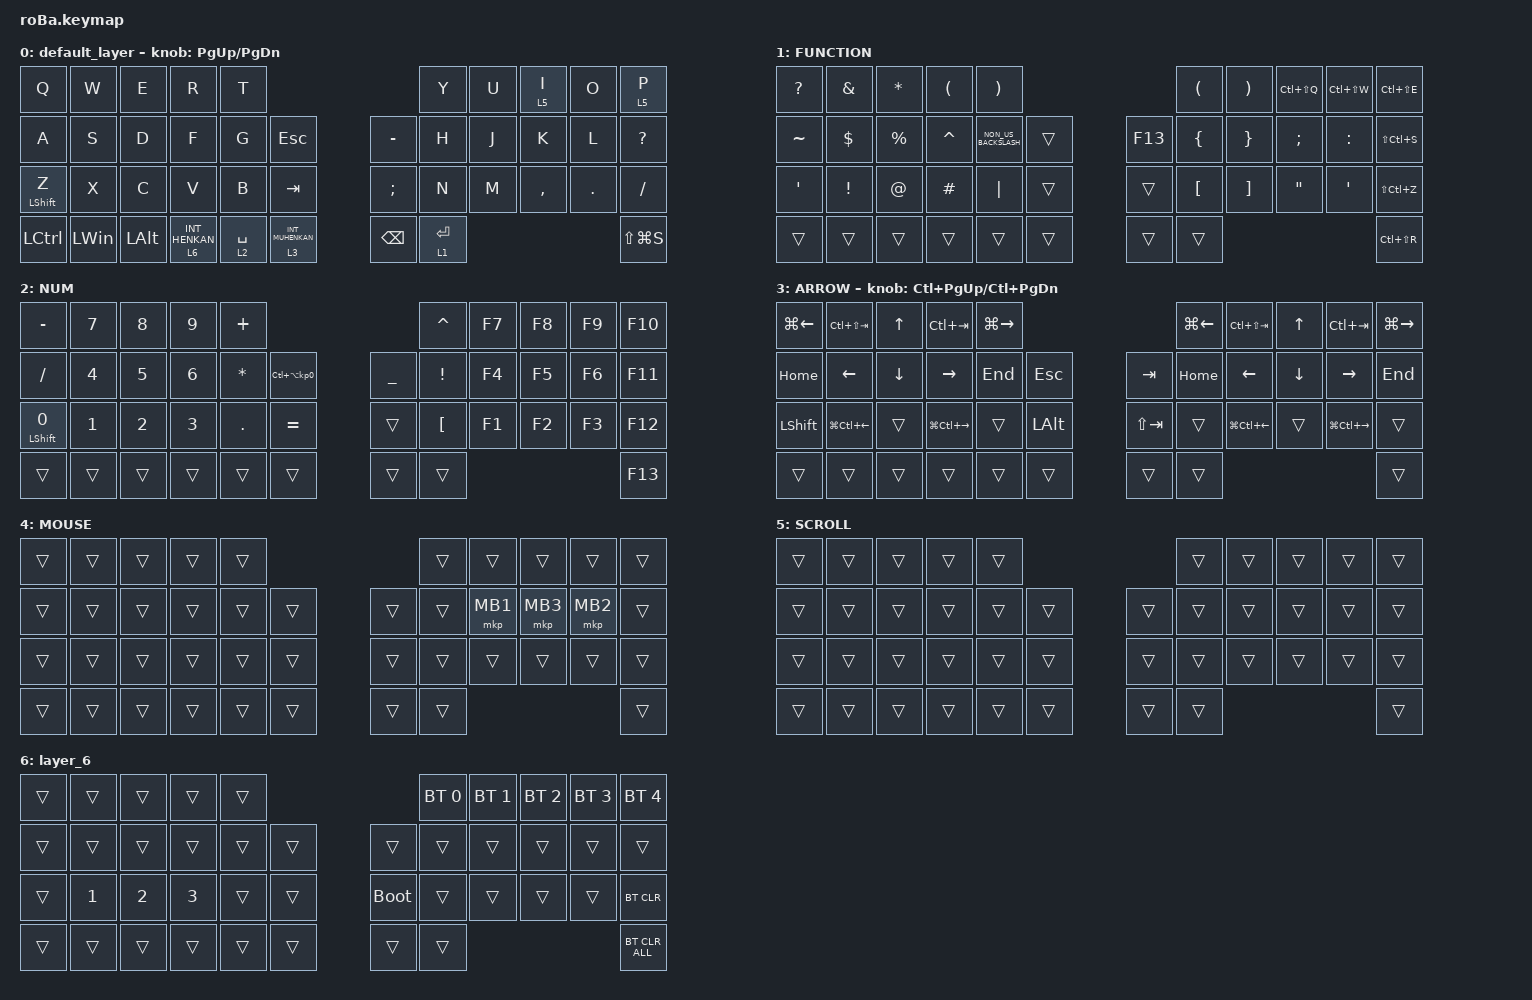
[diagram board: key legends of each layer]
#include <behaviors.dtsi>
#include <dt-bindings/zmk/bt.h>
#include <dt-bindings/zmk/keys.h>
#include <dt-bindings/zmk/pointing.h>

&mt {
    flavor = "balanced";
    quick-tap-ms = <0>;
};

&trackball {
    automouse-layer = <4>;
    scroll-layers = <5>;

    // arrows {
    //     layers = <3>;
    //     bindings =
    //         <&kp RIGHT_ARROW>,
    //         <&kp LEFT_ARROW>,
    //         <&kp UP_ARROW>,
    //         <&kp DOWN_ARROW>;
    //     tick = <10>;
    //     wait-ms = <5>;
    //     tap-ms = <5>;
    // };
};

/ {
    combos {
        compatible = "zmk,combos";

        tab {
            bindings = <&kp TAB>;
            key-positions = <11 12>;
        };

        shift_tab {
            bindings = <&kp LS(TAB)>;
            key-positions = <12 13>;
        };

        muhennkann {
            bindings = <&to_layer_0 INT_MUHENKAN>;
            key-positions = <11 10>;
        };

        double_quotation {
            bindings = <&kp DOUBLE_QUOTES>;
            key-positions = <20 21>;
        };

        eq {
            bindings = <&kp EQUAL>;
            key-positions = <24 25>;
        };
    };

    macros {
        to_layer_0: to_layer_0 {
            compatible = "zmk,behavior-macro-one-param";
            #binding-cells = <1>;
            bindings = <&to 0 &macro_param_1to1 &kp MACRO_PLACEHOLDER>;
            label = "TO_LAYER_0";
        };
    };

    behaviors {
        lt_to_layer_0: lt_to_layer_0 {
            compatible = "zmk,behavior-hold-tap";
            label = "LAYER_TAP_TO_0";
            bindings = <&mo>, <&to_layer_0>;

            #binding-cells = <2>;
            tapping-term-ms = <200>;
        };
    };

    keymap {
        compatible = "zmk,keymap";

        default_layer {
            bindings = <
&kp Q             &kp W         &kp E         &kp R                        &kp T                                                          &kp Y        &kp U  &lt 5 I    &kp O    &lt 5 P
&kp A             &kp S         &kp D         &kp F                        &kp G        &kp ESC                            &kp MINUS      &kp H        &kp J  &kp K      &kp L    &kp QUESTION
&mt LEFT_SHIFT Z  &kp X         &kp C         &kp V                        &kp B        &kp TAB                            &kp SEMICOLON  &kp N        &kp M  &kp COMMA  &kp DOT  &kp SLASH
&kp LCTRL         &kp LEFT_WIN  &kp LEFT_ALT  &lt_to_layer_0 6 INT_HENKAN  &lt 2 SPACE  &lt_to_layer_0 3 INT_MUHENKAN      &kp BACKSPACE  &lt 1 ENTER                             &kp LS(LG(S))
            >;

            sensor-bindings = <&inc_dec_kp PG_UP PAGE_DOWN>;
        };

        FUNCTION {
            bindings = <
&kp QUESTION  &kp AMPERSAND    &kp ASTERISK  &kp LEFT_PARENTHESIS  &kp RIGHT_PARENTHESIS                       &kp LEFT_PARENTHESIS  &kp RIGHT_PARENTHESIS  &kp LC(LS(Q))      &kp LC(LS(W))  &kp LC(LS(E))
&kp TILDE     &kp DOLLAR       &kp PERCENT   &kp CARET             &kp NON_US_BACKSLASH   &trans      &kp F13  &kp LEFT_BRACE        &kp RIGHT_BRACE        &kp SEMICOLON      &kp COLON      &kp LS(LC(S))
&kp SQT       &kp EXCLAMATION  &kp AT_SIGN   &kp POUND             &kp PIPE               &trans      &trans   &kp LEFT_BRACKET      &kp RIGHT_BRACKET      &kp DOUBLE_QUOTES  &kp SQT        &kp LS(LC(Z))
&trans        &trans           &trans        &trans                &trans                 &trans      &trans   &trans                                                                         &kp LC(LS(R))
            >;
        };

        NUM {
            bindings = <
&kp MINUS                &kp NUMBER_7  &kp NUMBER_8  &kp NUMBER_9  &kp PLUS                                                   &kp CARET         &kp F7  &kp F8  &kp F9  &kp F10
&kp SLASH                &kp NUMBER_4  &kp NUMBER_5  &kp NUMBER_6  &kp ASTERISK  &kp LC(LA(KP_NUMBER_0))      &kp UNDERSCORE  &kp EXCLAMATION   &kp F4  &kp F5  &kp F6  &kp F11
&mt LEFT_SHIFT NUMBER_0  &kp NUMBER_1  &kp NUMBER_2  &kp NUMBER_3  &kp PERIOD    &kp EQUAL                    &trans          &kp LEFT_BRACKET  &kp F1  &kp F2  &kp F3  &kp F12
&trans                   &trans        &trans        &trans        &trans        &trans                       &trans          &trans                                    &kp F13
            >;
        };

        ARROW {
            bindings = <
&kp LG(LEFT_ARROW)  &kp LC(LS(TAB))         &kp UP_ARROW    &kp LC(TAB)              &kp LG(RIGHT_ARROW)                                 &kp LG(LEFT_ARROW)  &kp LC(LS(TAB))         &kp UP_ARROW    &kp LC(TAB)              &kp LG(RIGHT_ARROW)
&kp HOME            &kp LEFT_ARROW          &kp DOWN_ARROW  &kp RIGHT_ARROW          &kp END              &kp ESC           &kp TAB      &kp HOME            &kp LEFT_ARROW          &kp DOWN_ARROW  &kp RIGHT_ARROW          &kp END
&kp LEFT_SHIFT      &kp LG(LC(LEFT_ARROW))  &trans          &kp LG(LC(RIGHT_ARROW))  &trans               &kp LEFT_ALT      &kp LS(TAB)  &trans              &kp LG(LC(LEFT_ARROW))  &trans          &kp LG(LC(RIGHT_ARROW))  &trans
&trans              &trans                  &trans          &trans                   &trans               &trans            &trans       &trans                                                                               &trans
            >;

            sensor-bindings = <&inc_dec_kp LC(PAGE_UP) LC(PAGE_DOWN)>;
        };

        MOUSE {
            bindings = <
&trans  &trans  &trans  &trans  &trans                      &trans  &trans    &trans    &trans    &trans
&trans  &trans  &trans  &trans  &trans  &trans      &trans  &trans  &mkp MB1  &mkp MB3  &mkp MB2  &trans
&trans  &trans  &trans  &trans  &trans  &trans      &trans  &trans  &trans    &trans    &trans    &trans
&trans  &trans  &trans  &trans  &trans  &trans      &trans  &trans                                &trans
            >;
        };

        SCROLL {
            bindings = <
&trans  &trans  &trans  &trans  &trans                      &trans  &trans  &trans  &trans  &trans
&trans  &trans  &trans  &trans  &trans  &trans      &trans  &trans  &trans  &trans  &trans  &trans
&trans  &trans  &trans  &trans  &trans  &trans      &trans  &trans  &trans  &trans  &trans  &trans
&trans  &trans  &trans  &trans  &trans  &trans      &trans  &trans                          &trans
            >;
        };

        layer_6 {
            bindings = <
&trans  &trans        &trans        &trans        &trans                           &bt BT_SEL 0  &bt BT_SEL 1  &bt BT_SEL 2  &bt BT_SEL 3  &bt BT_SEL 4
&trans  &trans        &trans        &trans        &trans  &trans      &trans       &trans        &trans        &trans        &trans        &trans
&trans  &kp NUMBER_1  &kp NUMBER_2  &kp NUMBER_3  &trans  &trans      &bootloader  &trans        &trans        &trans        &trans        &bt BT_CLR
&trans  &trans        &trans        &trans        &trans  &trans      &trans       &trans                                                  &bt BT_CLR_ALL
            >;
        };
    };
};
